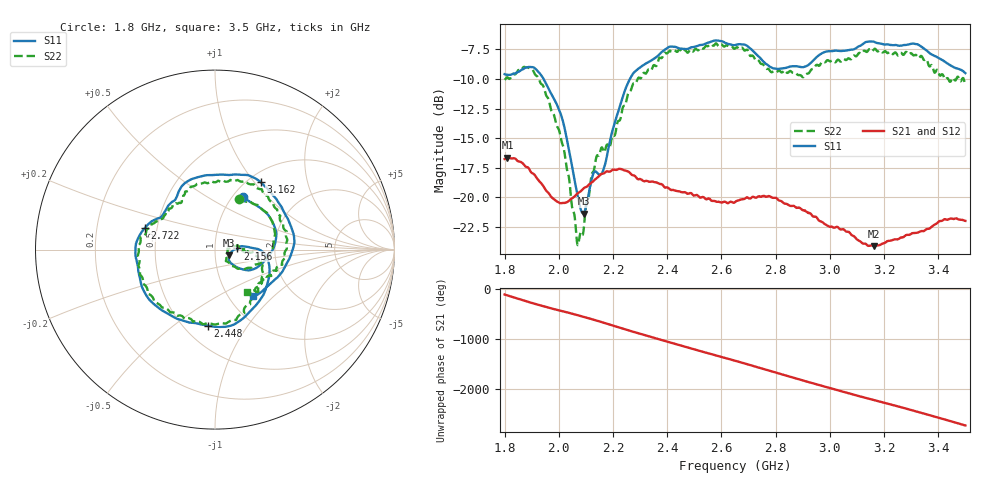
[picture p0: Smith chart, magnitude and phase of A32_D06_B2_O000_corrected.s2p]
! Created with skrf 1.9.0 (http://scikit-rf.org).
# Hz S RI R 50.0
!freq ReS11 ImS11 ReS21 ImS21 ReS12 ImS12 ReS22 ImS22
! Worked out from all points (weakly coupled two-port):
!   1601 points, 1.8 GHz to 3.5 GHz, reference 50 ohm
!   highest |S21| = -16.66 dB at 1.811 GHz (marker M1); lowest = -24.1 dB at 3.162 GHz (marker M2)
!   lowest |S11| = -21.4 dB at 2.091 GHz (marker M3), VSWR 1.19, Z = 58.5 - j3.66 ohm
!   |S11| at or under -10 dB: 1.944 GHz to 2.262 GHz (317.9 MHz wide, 15.1 % of centre)
!   |S22| runs from -24.0 to -7.0 dB; largest |S21 - S12| = 0.0025
!   S11 on the Smith chart (normalised r, x): 1.8 GHz: 1.12, +0.73; 2.156 GHz: 1.29, +0.02; 2.448 GHz: 0.65, -0.67; 2.722 GHz: 0.43, +0.12; 3.162 GHz: 1.13, +1.08; 3.5 GHz: 1.29, -0.75
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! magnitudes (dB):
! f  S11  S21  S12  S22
! 1.8 GHz  -9.6  -16.8  -16.7  -10.1
! 1.811 GHz  -9.6  -16.7  -16.7  -9.9
! 1.881 GHz  -9.0  -17.4  -17.4  -9.0
! 1.941 GHz  -9.9  -19.0  -19.0  -10.5
! 2.013 GHz  -13.3  -20.5  -20.5  -15.5
! 2.067 GHz  -19.5  -19.7  -19.7  -23.7
! 2.084 GHz  -21.2  -19.4  -19.4  -23.0
! 2.091 GHz  -21.4  -19.2  -19.3  -22.8
! 2.127 GHz  -18.0  -18.6  -18.6  -17.8
! 2.156 GHz  -18.0  -18.0  -18.0  -15.9
! 2.19 GHz  -15.1  -17.8  -17.8  -15.6
! 2.258 GHz  -10.2  -17.8  -17.8  -11.1
! 2.367 GHz  -8.0  -18.8  -18.8  -8.4
! 2.448 GHz  -7.4  -19.5  -19.5  -7.5
! 2.65 GHz  -7.1  -20.4  -20.4  -7.4
! 2.722 GHz  -7.8  -20.0  -19.9  -8.3
! 2.797 GHz  -9.1  -20.0  -20.0  -9.3
! 2.934 GHz  -8.5  -21.5  -21.5  -9.2
! 3.162 GHz  -6.8  -24.1  -24.1  -7.5
! 3.217 GHz  -7.1  -23.7  -23.6  -7.8
! 3.324 GHz  -7.1  -23.0  -22.9  -8.1
! 3.5 GHz  -9.5  -22.0  -22.0  -10.5
